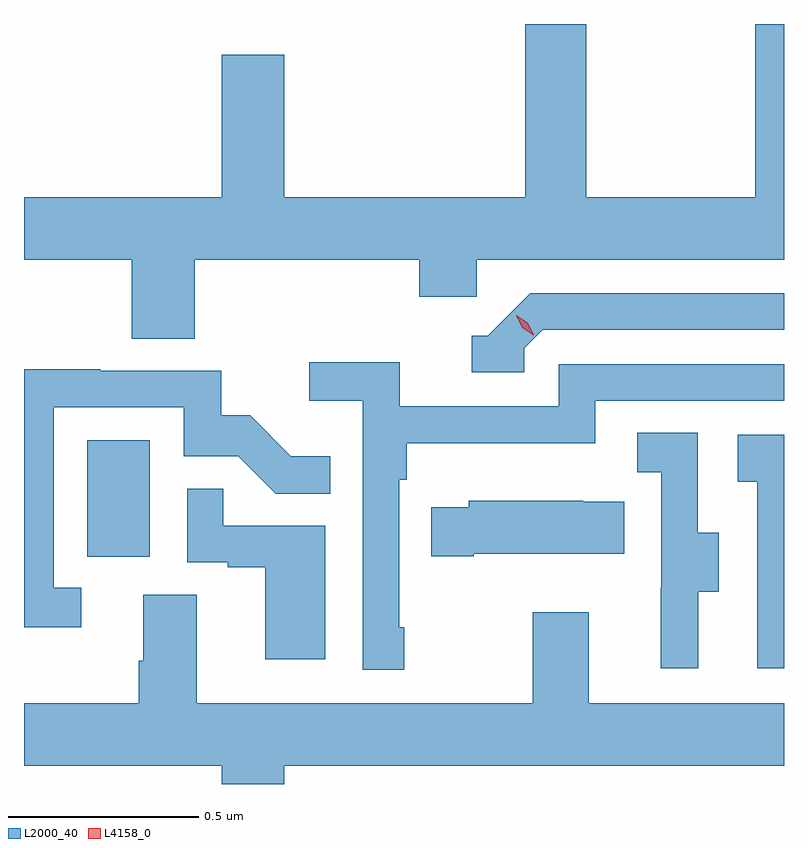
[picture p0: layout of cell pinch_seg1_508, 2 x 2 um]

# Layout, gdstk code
import gdstk
lib = gdstk.Library(unit=1e-6, precision=1e-09)
def R(c, l, rs):  # rectangles x0, y0, x1, y1
    for r in rs: c.add(gdstk.rectangle(r[:2], r[2:], *l))
def P(c, l, *ps):  # polygons
    for p in ps: c.add(gdstk.Polygon(p, *l))
L2000_40 = (2000, 40)
L4158_0 = (4158, 0)

pinch_seg1_508 = lib.new_cell('pinch_seg1_508')
R(pinch_seg1_508, L2000_40, [(1141.676,526.974,1141.84,527.281)])
P(pinch_seg1_508, L2000_40, [(1141.958,527.756),(1142.549,527.756),(1142.549,527.658),(1142.7,527.658),(1142.7,527.756),(1143.509,527.756),(1143.509,528.376),(1143.433,528.376),(1143.433,527.92),(1142.988,527.92),(1142.988,528.376),(1142.828,528.376),(1142.828,527.92),(1142.194,527.92),(1142.194,528.295),(1142.03,528.295),(1142.03,527.92),(1141.509,527.92),(1141.509,527.756),(1141.793,527.756),(1141.793,527.548),(1141.958,527.548)],
  [(1142.826,527.523),(1142.874,527.571),(1143.509,527.571),(1143.509,527.667),(1142.841,527.667),(1142.73,527.556),(1142.687,527.556),(1142.687,527.46),(1142.826,527.46)],
  [(1142.509,526.789),(1142.496,526.789),(1142.496,527.177),(1142.516,527.177),(1142.516,527.273),(1143.012,527.273),(1143.012,527.385),(1143.509,527.385),(1143.509,527.481),(1142.916,527.481),(1142.916,527.37),(1142.498,527.37),(1142.498,527.486),(1142.259,527.486),(1142.259,527.384),(1142.4,527.384),(1142.4,526.677),(1142.509,526.677)],
  [(1141.66,526.893),(1141.587,526.893),(1141.587,527.367),(1141.929,527.367),(1141.929,527.238),(1142.073,527.238),(1142.171,527.14),(1142.315,527.14),(1142.315,527.239),(1142.211,527.239),(1142.104,527.346),(1142.028,527.346),(1142.028,527.463),(1141.709,527.463),(1141.709,527.468),(1141.509,527.468),(1141.509,526.788),(1141.66,526.788)],
  [(1143.283,526.882),(1143.337,526.882),(1143.337,527.037),(1143.282,527.037),(1143.282,527.3),(1143.123,527.3),(1143.123,527.197),(1143.186,527.197),(1143.186,526.893),(1143.185,526.893),(1143.185,526.68),(1143.283,526.68)],
  [(1143.509,527.295),(1143.387,527.295),(1143.387,527.171),(1143.438,527.171),(1143.438,526.68),(1143.509,526.68)],
  [(1142.302,527.055),(1142.033,527.055),(1142.033,527.153),(1141.938,527.153),(1141.938,526.959),(1142.045,526.959),(1142.045,526.947),(1142.144,526.947),(1142.144,526.704),(1142.302,526.704)],
  [(1142.692,526.982),(1143.089,526.982),(1143.089,527.119),(1142.981,527.119),(1142.981,527.122),(1142.679,527.122),(1142.679,527.104),(1142.581,527.104),(1142.581,526.975),(1142.692,526.975)],
  [(1142.194,526.424),(1143.509,526.424),(1143.509,526.588),(1142.995,526.588),(1142.995,526.828),(1142.848,526.828),(1142.848,526.588),(1141.963,526.588),(1141.963,526.874),(1141.823,526.874),(1141.823,526.7),(1141.811,526.7),(1141.811,526.588),(1141.509,526.588),(1141.509,526.424),(1142.03,526.424),(1142.03,526.376),(1142.194,526.376)])
P(pinch_seg1_508, L4158_0, [(1142.85,527.557),(1142.82,527.577),(1142.804,527.61),(1142.804,527.61),(1142.804,527.61),(1142.834,527.59),(1142.85,527.558),(1142.85,527.557)])

lib.write_gds('pinch_seg1_508.gds')
